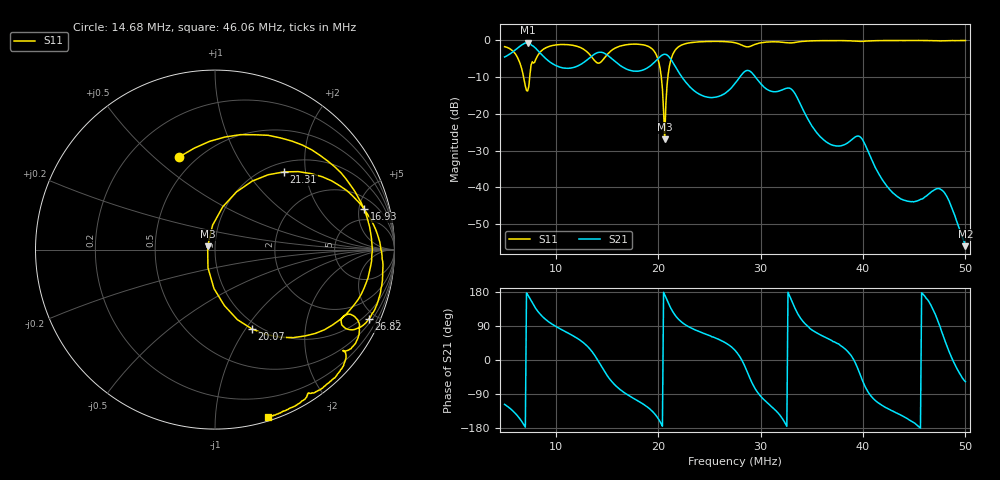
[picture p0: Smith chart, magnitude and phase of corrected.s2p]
! S11/S21 only; reverse parameters are placeholders. Device calibration unverified.
! [Saver CAL applied] C:\Users\aknya\MyProjects\rf-simulator\calibration2.cal | Ideal standards assumed | Input: NanoVNA F V2 profile | COM3 | 2026-09-08T11:09:26.1341142-04:00 | device calibration unverified
# HZ S RI R 50
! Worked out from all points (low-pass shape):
!   401 points, 5 MHz to 50 MHz, reference 50 ohm
!   highest |S21| = -0.74 dB at 7.25 MHz (marker M1); lowest = -55.9 dB at 50 MHz (marker M2)
!   |S21| within 3 dB of the highest: 5.562 MHz to 8.532 MHz (2.969 MHz wide, 42.1 % of centre); 13.86 MHz to 14.81 MHz (949.9 kHz wide, 6.63 % of centre)
!   lowest |S11| = -26.9 dB at 20.64 MHz (marker M3), VSWR 1.09, Z = 46 + j1.72 ohm
!   |S11| at or under -10 dB: 6.846 MHz to 7.454 MHz (608.5 kHz wide, 8.51 % of centre); 20.3 MHz to 20.95 MHz (648.1 kHz wide, 3.14 % of centre)
!   S12 and S22 are empty: the file has one direction only
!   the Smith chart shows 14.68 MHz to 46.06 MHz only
!   S11 on the Smith chart (normalised r, x): 14.68 MHz: 0.41, +0.60; 16.93 MHz: 3.29, +5.68; 20.07 MHz: 0.92, -1.07; 21.31 MHz: 1.17, +1.53; 26.82 MHz: 0.69, -4.53; 46.06 MHz: 0.03, -1.37
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5000000  0.7439 -0.3173  -0.266 -0.5216  0 0  0 0
7250000  0.2012 -0.0242  -0.9106 0.1189  0 0  0 0
8150000  0.5587 0.1677  -0.4922 0.5516  0 0  0 0
9725000  0.8203 -0.1877  -0.0254 0.4698  0 0  0 0
1.25375e7  0.2255 -0.7363  0.3113 0.3577  0 0  0 0
1.38875e7  -0.4811 -0.1631  0.6466 0.0979  0 0  0 0
1.4675e7  -0.2033 0.5138  0.5936 -0.2997  0 0  0 0
1.6925e7  0.8305 0.2242  -0.00269 -0.4002  0 0  0 0
1.88375e7  0.776 -0.3071  -0.216 -0.3472  0 0  0 0
2.0075e7  0.2068 -0.4425  -0.5299 -0.2163  0 0  0 0
2.06375e7  -0.0409 0.0187  -0.6317 0.0902  0 0  0 0
2.13125e7  0.3837 0.4329  -0.3554 0.3876  0 0  0 0
2.28875e7  0.8958 0.1101  0.00423 0.2483  0 0  0 0
2.6825e7  0.8552 -0.3879  0.153 0.1333  0 0  0 0
2.75e7  0.8006 -0.4355  0.2304 0.1108  0 0  0 0
2.93e7  0.7689 -0.367  0.1286 -0.3132  0 0  0 0
3.50375e7  0.6995 -0.6694  0.013 0.0659  0 0  0 0
3.97625e7  0.5197 -0.7993  0.036 -0.0316  0 0  0 0
4.2575e7  0.4355 -0.8758  -0.00612 -0.00722  0 0  0 0
4.60625e7  0.2965 -0.9329  -0.00729 0.00162  0 0  0 0
4.78625e7  0.2342 -0.9415  0.00417 0.00775  0 0  0 0
5e7  0.1598 -0.9653  0.000868 -0.00134  0 0  0 0
